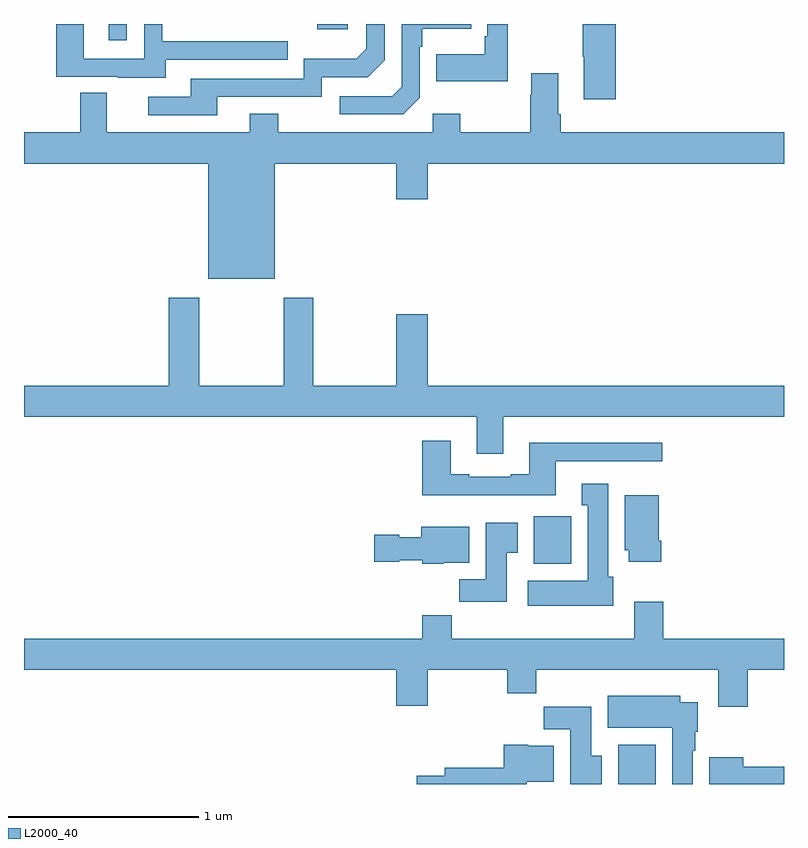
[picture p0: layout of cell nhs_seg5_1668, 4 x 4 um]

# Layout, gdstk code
import gdstk
lib = gdstk.Library(unit=1e-6, precision=1e-09)
def R(c, l, rs):  # rectangles x0, y0, x1, y1
    for r in rs: c.add(gdstk.rectangle(r[:2], r[2:], *l))
def P(c, l, *ps):  # polygons
    for p in ps: c.add(gdstk.Polygon(p, *l))
L2000_40 = (2000, 40)

nhs_seg5_1668 = lib.new_cell('nhs_seg5_1668')
R(nhs_seg5_1668, L2000_40, [(214.127,882.799,214.324,883.006), (213.683,883.958,213.879,884.209), (211.445,886.713,211.542,886.799), (212.543,886.772,212.704,886.799)])
P(nhs_seg5_1668, L2000_40, [(213.084,886.41),(213.084,886.679),(213.097,886.679),(213.097,886.775),(213.353,886.775),(213.353,886.799),(212.988,886.799),(212.988,886.47),(212.937,886.419),(212.661,886.419),(212.661,886.323),(212.997,886.323)],
  [(213.547,886.799),(213.438,886.799),(213.438,886.735),(213.426,886.735),(213.426,886.639),(213.169,886.639),(213.169,886.499),(213.547,886.499)],
  [(212.017,886.416),(212.568,886.416),(212.568,886.518),(212.808,886.518),(212.898,886.608),(212.898,886.799),(212.802,886.799),(212.802,886.668),(212.749,886.615),(212.472,886.615),(212.472,886.512),(211.877,886.512),(211.877,886.416),(211.653,886.416),(211.653,886.32),(212.017,886.32)],
  [(211.747,886.611),(212.387,886.611),(212.387,886.707),(211.728,886.707),(211.728,886.799),(211.632,886.799),(211.632,886.617),(211.314,886.617),(211.314,886.799),(211.169,886.799),(211.169,886.521),(211.493,886.521),(211.493,886.517),(211.747,886.517)],
  [(214.115,886.799),(213.94,886.799),(213.94,886.627),(213.947,886.627),(213.947,886.404),(214.115,886.404)],
  [(215,886.228),(213.824,886.228),(213.824,886.324),(213.811,886.324),(213.811,886.54),(213.671,886.54),(213.671,886.427),(213.664,886.427),(213.664,886.228),(213.297,886.228),(213.297,886.327),(213.15,886.327),(213.15,886.228),(212.337,886.228),(212.337,886.327),(212.189,886.327),(212.189,886.228),(211.435,886.228),(211.435,886.436),(211.295,886.436),(211.295,886.228),(211,886.228),(211,886.064),(211.97,886.064),(211.97,885.458),(212.32,885.458),(212.32,886.064),(212.96,886.064),(212.96,885.876),(213.124,885.876),(213.124,886.064),(215,886.064)],
  [(213.523,884.732),(215,884.732),(215,884.896),(213.124,884.896),(213.124,885.271),(212.96,885.271),(212.96,884.896),(212.523,884.896),(212.523,885.358),(212.368,885.358),(212.368,884.896),(211.923,884.896),(211.923,885.358),(211.763,885.358),(211.763,884.896),(211,884.896),(211,884.732),(213.383,884.732),(213.383,884.538),(213.523,884.538)],
  [(213.799,884.499),(214.36,884.499),(214.36,884.596),(213.659,884.596),(213.659,884.428),(213.563,884.428),(213.563,884.415),(213.343,884.415),(213.343,884.428),(213.247,884.428),(213.247,884.605),(213.095,884.605),(213.095,884.318),(213.799,884.318)],
  [(214.102,883.89),(214.075,883.89),(214.075,884.38),(213.935,884.38),(213.935,884.267),(213.968,884.267),(213.968,883.87),(213.651,883.87),(213.651,883.736),(214.102,883.736)],
  [(214.355,884.08),(214.342,884.08),(214.342,884.32),(214.163,884.32),(214.163,884.028),(214.184,884.028),(214.184,883.968),(214.355,883.968)],
  [(213.541,884.017),(213.598,884.017),(213.598,884.173),(213.431,884.173),(213.431,883.876),(213.292,883.876),(213.292,883.758),(213.541,883.758)],
  [(213.21,883.964),(213.343,883.964),(213.343,884.152),(213.092,884.152),(213.092,884.098),(212.976,884.098),(212.976,884.111),(212.844,884.111),(212.844,883.969),(212.976,883.969),(212.976,883.976),(213.096,883.976),(213.096,883.958),(213.21,883.958)],
  [(214.808,883.4),(215,883.4),(215,883.564),(214.364,883.564),(214.364,883.759),(214.211,883.759),(214.211,883.564),(213.251,883.564),(213.251,883.688),(213.095,883.688),(213.095,883.564),(211,883.564),(211,883.4),(212.96,883.4),(212.96,883.212),(213.124,883.212),(213.124,883.4),(213.544,883.4),(213.544,883.276),(213.695,883.276),(213.695,883.4),(214.655,883.4),(214.655,883.206),(214.808,883.206)],
  [(214.519,882.974),(214.534,882.974),(214.534,883.074),(214.546,883.074),(214.546,883.228),(214.453,883.228),(214.453,883.264),(214.073,883.264),(214.073,883.094),(214.412,883.094),(214.412,882.799),(214.519,882.799)],
  [(214.042,882.948),(213.985,882.948),(213.985,883.206),(213.736,883.206),(213.736,883.088),(213.875,883.088),(213.875,882.799),(214.042,882.799)],
  [(213.646,882.812),(213.787,882.812),(213.787,883),(213.654,883),(213.654,883.006),(213.524,883.006),(213.524,882.884),(213.215,882.884),(213.215,882.843),(213.066,882.843),(213.066,882.799),(213.646,882.799)],
  [(215,882.89),(214.786,882.89),(214.786,882.94),(214.607,882.94),(214.607,882.799),(215,882.799)])

lib.write_gds('nhs_seg5_1668.gds')
